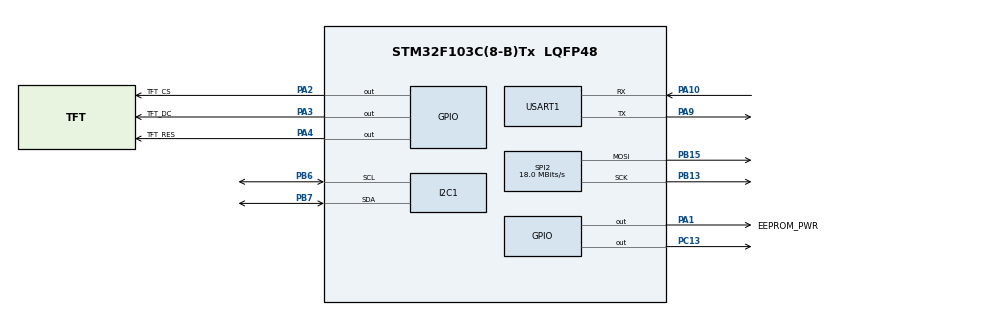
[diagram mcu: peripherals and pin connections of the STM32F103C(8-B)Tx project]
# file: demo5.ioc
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Dma.Request0=USART1_RX
Dma.Request1=USART1_TX
Dma.USART1_RX.0.Direction=DMA_PERIPH_TO_MEMORY
Dma.USART1_RX.0.Instance=DMA1_Channel5
Dma.USART1_RX.0.MemDataAlignment=DMA_MDATAALIGN_BYTE
Dma.USART1_RX.0.MemInc=DMA_MINC_ENABLE
Dma.USART1_RX.0.Mode=DMA_CIRCULAR
Dma.USART1_RX.0.PeriphDataAlignment=DMA_PDATAALIGN_BYTE
Dma.USART1_RX.0.PeriphInc=DMA_PINC_DISABLE
Dma.USART1_RX.0.Priority=DMA_PRIORITY_HIGH
Dma.USART1_TX.1.Direction=DMA_MEMORY_TO_PERIPH
Dma.USART1_TX.1.Instance=DMA1_Channel4
Dma.USART1_TX.1.MemDataAlignment=DMA_MDATAALIGN_BYTE
Dma.USART1_TX.1.MemInc=DMA_MINC_ENABLE
Dma.USART1_TX.1.Mode=DMA_NORMAL
Dma.USART1_TX.1.PeriphDataAlignment=DMA_PDATAALIGN_BYTE
Dma.USART1_TX.1.PeriphInc=DMA_PINC_DISABLE
Dma.USART1_TX.1.Priority=DMA_PRIORITY_LOW
Mcu.Family=STM32F1
Mcu.Name=STM32F103C(8-B)Tx
Mcu.Package=LQFP48
NVIC.DMA1_Channel4_IRQn=true\:0\:0\:false\:false\:true\:false\:true\:true
NVIC.DMA1_Channel5_IRQn=true\:0\:0\:false\:false\:true\:false\:true\:true
NVIC.PriorityGroup=NVIC_PRIORITYGROUP_4
NVIC.USART1_IRQn=true\:0\:0\:false\:false\:true\:true\:true\:true
PA1.GPIO_Label=EEPROM_PWR
PA1.Signal=GPIO_Output
PA10.Mode=Asynchronous
PA10.Signal=USART1_RX
PA13.Mode=Serial_Wire
PA13.Signal=SYS_JTMS-SWDIO
PA14.Mode=Serial_Wire
PA14.Signal=SYS_JTCK-SWCLK
PA2.GPIO_Label=TFT_CS
PA2.Signal=GPIO_Output
PA3.GPIO_Label=TFT_DC
PA3.Signal=GPIO_Output
PA4.GPIO_Label=TFT_RES
PA4.Signal=GPIO_Output
PA9.Mode=Asynchronous
PA9.Signal=USART1_TX
PB13.Mode=TX_Only_Simplex_Unidirect_Master
PB13.Signal=SPI2_SCK
PB15.Mode=TX_Only_Simplex_Unidirect_Master
PB15.Signal=SPI2_MOSI
PB6.Mode=I2C
PB6.Signal=I2C1_SCL
PB7.Mode=I2C
PB7.Signal=I2C1_SDA
PC13-TAMPER-RTC.Signal=GPIO_Output
PD0-OSC_IN.Mode=HSE-External-Oscillator
PD0-OSC_IN.Signal=RCC_OSC_IN
PD1-OSC_OUT.Mode=HSE-External-Oscillator
PD1-OSC_OUT.Signal=RCC_OSC_OUT
ProjectManager.HeapSize=0x200
ProjectManager.StackSize=0x400
ProjectManager.TargetToolchain=STM32CubeIDE
RCC.AHBFreq_Value=72000000
RCC.APB1CLKDivider=RCC_HCLK_DIV2
RCC.APB1Freq_Value=36000000
RCC.APB1TimFreq_Value=72000000
RCC.APB2Freq_Value=72000000
RCC.APB2TimFreq_Value=72000000
RCC.HCLKFreq_Value=72000000
RCC.PLLMUL=RCC_PLL_MUL9
RCC.PLLSourceVirtual=RCC_PLLSOURCE_HSE
RCC.SYSCLKFreq_VALUE=72000000
RCC.SYSCLKSource=RCC_SYSCLKSOURCE_PLLCLK
RCC.USBFreq_Value=72000000
SPI2.CalculateBaudRate=18.0 MBits/s
SPI2.Direction=SPI_DIRECTION_2LINES
SPI2.Mode=SPI_MODE_MASTER
SPI2.VirtualType=VM_MASTER
USART1.VirtualMode=VM_ASYNC
board=custom

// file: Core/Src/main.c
	/* USER CODE BEGIN Header */
	/**
	  ******************************************************************************
	  * @file           : main.c
	  * @brief          : Tích hợp Ghi/Đọc EEPROM qua UART và Hiển thị cuộn trên LCD ST7789
	  ******************************************************************************
	  */
	/* USER CODE END Header */
	/* Includes ------------------------------------------------------------------*/
	#include "main.h"

	/* Private includes ----------------------------------------------------------*/
	/* USER CODE BEGIN Includes */
	#include "fonts.h"
	#include <string.h>
	#include <stdio.h>
	/* USER CODE END Includes */

	/* Private typedef -----------------------------------------------------------*/

	/* Private define ------------------------------------------------------------*/
	/* USER CODE BEGIN PD */
	#define EEPROM_ADDR 0xA0

	// Chân cấp nguồn EEPROM
	#define EEPROM_PWR_Pin GPIO_PIN_1
	#define EEPROM_PWR_GPIO_Port GPIOA

	// Chân LCD ST7789 (SPI2)
	#define TFT_CS_PORT  GPIOA
	#define TFT_CS_PIN   GPIO_PIN_2
	#define TFT_DC_PORT  GPIOA
	#define TFT_DC_PIN   GPIO_PIN_3
	#define TFT_RES_PORT GPIOA
	#define TFT_RES_PIN  GPIO_PIN_4
	/* USER CODE END PD */

	/* Private macro -------------------------------------------------------------*/

	/* Private variables ---------------------------------------------------------*/
	I2C_HandleTypeDef hi2c1;
	SPI_HandleTypeDef hspi2;
	UART_HandleTypeDef huart1;
	DMA_HandleTypeDef hdma_usart1_rx;
	DMA_HandleTypeDef hdma_usart1_tx;

	/* USER CODE BEGIN PV */
	uint8_t rx_buffer[3];
	uint8_t tx_buffer[26];

	uint8_t double_alphabet[52];
	const uint8_t my_alphabet[26] = "ABCDEFGHIJKLMNOPQRSTUVWXYZ";
	uint8_t ack_msg[2] = {'O', 'K'};
	uint8_t newline[2] = {'\r', '\n'};

	volatile uint8_t cmd_flag = 0;

	// Biến quản lý cuộn LCD
	uint16_t scroll_y = 0;
	uint16_t physical_y = 0;
	uint32_t line_count = 0;
	/* USER CODE END PV */

	/* Private function prototypes -----------------------------------------------*/
	void SystemClock_Config(void);
	static void MX_GPIO_Init(void);
	static void MX_DMA_Init(void);
	static void MX_I2C1_Init(void);
	static void MX_SPI2_Init(void);
	static void MX_USART1_UART_Init(void);

	/* USER CODE BEGIN PFP */
	void ST7789_WriteCommand(uint8_t cmd);
	void ST7789_WriteData(uint8_t data);
	void ST7789_SetWindow(uint16_t x0, uint16_t y0, uint16_t x1, uint16_t y1);
	void ST7789_FillScreen(uint16_t color);
	void ST7789_DrawChar(uint16_t x, uint16_t y, char ch, FontDef font, uint16_t color, uint16_t bgcolor);
	void ST7789_DrawString(uint16_t x, uint16_t y, const char *str, FontDef font, uint16_t color, uint16_t bgcolor);
	void ST7789_HardwareScroll(uint16_t y_offset);

	void EEPROM_Write_Buffer(uint16_t MemAddress, uint8_t *pData, uint16_t len);
	void EEPROM_Read_Buffer(uint16_t MemAddress, uint8_t *pData, uint16_t len);
	/* USER CODE END PFP */

	/* Private user code ---------------------------------------------------------*/
	/* USER CODE BEGIN 0 */

	// =================== HÀM GIAO TIẾP LCD ST7789 ===================
	void ST7789_WriteCommand(uint8_t cmd) {
		HAL_GPIO_WritePin(TFT_CS_PORT, TFT_CS_PIN, GPIO_PIN_RESET);
		HAL_GPIO_WritePin(TFT_DC_PORT, TFT_DC_PIN, GPIO_PIN_RESET);
		HAL_SPI_Transmit(&hspi2, &cmd, 1, 10);
		HAL_GPIO_WritePin(TFT_CS_PORT, TFT_CS_PIN, GPIO_PIN_SET);
	}

	void ST7789_WriteData(uint8_t data) {
		HAL_GPIO_WritePin(TFT_CS_PORT, TFT_CS_PIN, GPIO_PIN_RESET);
		HAL_GPIO_WritePin(TFT_DC_PORT, TFT_DC_PIN, GPIO_PIN_SET);
		HAL_SPI_Transmit(&hspi2, &data, 1, 10);
		HAL_GPIO_WritePin(TFT_CS_PORT, TFT_CS_PIN, GPIO_PIN_SET);
	}

	void ST7789_SetWindow(uint16_t x0, uint16_t y0, uint16_t x1, uint16_t y1) {
		ST7789_WriteCommand(0x2A);
		ST7789_WriteData(x0 >> 8); ST7789_WriteData(x0 & 0xFF);
		ST7789_WriteData(x1 >> 8); ST7789_WriteData(x1 & 0xFF);

		ST7789_WriteCommand(0x2B);
		ST7789_WriteData(y0 >> 8); ST7789_WriteData(y0 & 0xFF);
		ST7789_WriteData(y1 >> 8); ST7789_WriteData(y1 & 0xFF);
		ST7789_WriteCommand(0x2C);
	}

	void ST7789_FillScreen(uint16_t color) {
		uint8_t line_buffer[480];
		uint8_t high_byte = color >> 8;
		uint8_t low_byte = color & 0xFF;
		for (int i = 0; i < 480; i += 2) {
			line_buffer[i] = high_byte;
			line_buffer[i+1] = low_byte;
		}
		ST7789_SetWindow(0, 0, 239, 239);
		HAL_GPIO_WritePin(TFT_CS_PORT, TFT_CS_PIN, GPIO_PIN_RESET);
		HAL_GPIO_WritePin(TFT_DC_PORT, TFT_DC_PIN, GPIO_PIN_SET);
		for (int y = 0; y < 240; y++) {
			HAL_SPI_Transmit(&hspi2, line_buffer, 480, 10);
		}
		HAL_GPIO_WritePin(TFT_CS_PORT, TFT_CS_PIN, GPIO_PIN_SET);
	}

	void ST7789_DrawChar(uint16_t x, uint16_t y, char ch, FontDef font, uint16_t color, uint16_t bgcolor) {
		uint32_t char_size = font.width * font.height;
		uint8_t char_buffer[char_size * 2];
		uint16_t buffer_index = 0;
		uint8_t color_high = color >> 8, color_low = color & 0xFF;
		uint8_t bg_high = bgcolor >> 8, bg_low = bgcolor & 0xFF;

		for(uint32_t i = 0; i < font.height; i++) {
			uint32_t b = font.data[(ch - 32) * font.height + i];
			for(uint32_t j = 0; j < font.width; j++) {
				if((b << j) & 0x8000) {
					char_buffer[buffer_index++] = color_high; char_buffer[buffer_index++] = color_low;
				} else {
					char_buffer[buffer_index++] = bg_high; char_buffer[buffer_index++] = bg_low;
				}
			}
		}
		ST7789_SetWindow(x, y, x + font.width - 1, y + font.height - 1);
		HAL_GPIO_WritePin(TFT_CS_PORT, TFT_CS_PIN, GPIO_PIN_RESET);
		HAL_GPIO_WritePin(TFT_DC_PORT, TFT_DC_PIN, GPIO_PIN_SET);
		HAL_SPI_Transmit(&hspi2, char_buffer, char_size * 2, 10);
		HAL_GPIO_WritePin(TFT_CS_PORT, TFT_CS_PIN, GPIO_PIN_SET);
	}

	void ST7789_DrawString(uint16_t x, uint16_t y, const char *str, FontDef font, uint16_t color, uint16_t bgcolor) {
		while (*str) {
			if (x + font.width >= 240) {
				x = 0;
				y += font.height;
				if (y + font.height >= 240) break;
			}
			ST7789_DrawChar(x, y, *str, font, color, bgcolor);
			x += font.width;
			str++;
		}
	}

	void ST7789_HardwareScroll(uint16_t y_offset) {
		ST7789_WriteCommand(0x37);
		ST7789_WriteData(y_offset >> 8);
		ST7789_WriteData(y_offset & 0xFF);
	}

	// =================== HÀM GIAO TIẾP EEPROM ===================
	void EEPROM_Write_Buffer(uint16_t MemAddress, uint8_t *pData, uint16_t len) {
		if (HAL_I2C_Mem_Write(&hi2c1, EEPROM_ADDR, MemAddress, I2C_MEMADD_SIZE_16BIT, pData, len, 100) != HAL_OK) return;
		while (HAL_I2C_IsDeviceReady(&hi2c1, EEPROM_ADDR, 5, 10) != HAL_OK) {}
		HAL_GPIO_TogglePin(GPIOC, GPIO_PIN_13);
	}

	void EEPROM_Read_Buffer(uint16_t MemAddress, uint8_t *pData, uint16_t len) {
		for (uint16_t i = 0; i < len; i++) {
			if (HAL_I2C_Mem_Read(&hi2c1, EEPROM_ADDR, MemAddress + i, I2C_MEMADD_SIZE_16BIT, &pData[i], 1, 100) != HAL_OK) {
				pData[i] = '?';
			}
		}
		HAL_GPIO_TogglePin(GPIOC, GPIO_PIN_13);
	}
	/* USER CODE END 0 */

	/**
	  * @brief  The application entry point.
	  * @retval int
	  */
	int main(void)
	{

	  /* MCU Configuration--------------------------------------------------------*/
	  HAL_Init();

	  /* Configure the system clock */
	  SystemClock_Config();

	  /* Initialize all configured peripherals */
	  MX_GPIO_Init();
	  MX_DMA_Init();
	  MX_I2C1_Init();
	  MX_SPI2_Init();
	  MX_USART1_UART_Init();

	  /* USER CODE BEGIN 2 */

	  // --- 1. KHỞI TẠO MÀN HÌNH ST7789 ---
	  HAL_GPIO_WritePin(TFT_RES_PORT, TFT_RES_PIN, GPIO_PIN_RESET);
	  HAL_Delay(100);
	  HAL_GPIO_WritePin(TFT_RES_PORT, TFT_RES_PIN, GPIO_PIN_SET);
	  HAL_Delay(100);

	  ST7789_WriteCommand(0x11); HAL_Delay(120);
	  ST7789_WriteCommand(0x3A); ST7789_WriteData(0x55);
	  ST7789_WriteCommand(0x36); ST7789_WriteData(0x00);
	  ST7789_WriteCommand(0x21);
	  ST7789_WriteCommand(0x29); HAL_Delay(20);

	  // Cấu hình vùng cuộn
	  ST7789_WriteCommand(0x33);
	  ST7789_WriteData(0x00); ST7789_WriteData(0x00);
	  ST7789_WriteData(0x00); ST7789_WriteData(0xF0);
	  ST7789_WriteData(0x00); ST7789_WriteData(0x00); // Ở đây lề dưới = 0 cho cuộn toàn màn

	  ST7789_FillScreen(0x0000); // Xóa màn hình đen

	  // --- 2. KHỞI TẠO EEPROM & UART ---
	  memcpy(double_alphabet, my_alphabet, 26);
	  memcpy(double_alphabet + 26, my_alphabet, 26);

	  // Chờ lệnh 3 byte từ PC
	  HAL_UART_Receive_DMA(&huart1, rx_buffer, 3);

	  // Mặc định ngắt nguồn EEPROM
	  HAL_GPIO_WritePin(GPIOC, GPIO_PIN_13, GPIO_PIN_SET);
	  HAL_GPIO_WritePin(EEPROM_PWR_GPIO_Port, EEPROM_PWR_Pin, GPIO_PIN_SET);
	  HAL_Delay(50);

	  char msg[50];
		sprintf(msg, "\r\nDang quet I2C...\r\n");
		HAL_UART_Transmit(&huart1, (uint8_t*)msg, strlen(msg), 100);

		for(uint8_t i = 1; i < 128; i++) {
			// Dịch trái 1 bit vì STM32 yêu cầu địa chỉ 8-bit (có bit R/W)
			if(HAL_I2C_IsDeviceReady(&hi2c1, (uint16_t)(i << 1), 3, 50) == HAL_OK) {
				sprintf(msg, "-> TIM THAY THIET BI TAI DIA CHI: 0x%X \r\n", (i << 1));
				HAL_UART_Transmit(&huart1, (uint8_t*)msg, strlen(msg), 100);
			}
		}
		sprintf(msg, "Hoan thanh quet.\r\n");
		HAL_UART_Transmit(&huart1, (uint8_t*)msg, strlen(msg), 100);
	  /* USER CODE END 2 */

		/* Infinite loop */
		  while (1)
		  {

		    /* USER CODE BEGIN 3 */

		    // --------------------------------------------------------
		    // TRƯỜNG HỢP 1: GHI 100 BẢNG CHỮ CÁI (0xBB)
		    // --------------------------------------------------------
		    if (cmd_flag == 0xBB) {
		        cmd_flag = 0;

		        HAL_GPIO_WritePin(EEPROM_PWR_GPIO_Port, EEPROM_PWR_Pin, GPIO_PIN_SET);
		        HAL_Delay(20);

		        HAL_I2C_DeInit(&hi2c1);
		        HAL_I2C_Init(&hi2c1);

		        for (uint16_t i = 0; i < 50; i++) {
		            EEPROM_Write_Buffer(i * 64, (uint8_t*)double_alphabet, 26);
		        }

		        HAL_UART_Transmit(&huart1, ack_msg, 2, 100);
		        HAL_UART_Transmit(&huart1, newline, 2, 100);

		        HAL_GPIO_WritePin(EEPROM_PWR_GPIO_Port, EEPROM_PWR_Pin, GPIO_PIN_RESET);
		    }
		    		// TRƯỜNG HỢP 2: ĐỌC 100 BẢNG CHỮ CÁI VÀ HIỂN THỊ (0xCC)

		    		else if (cmd_flag == 0xCC) {
		    			cmd_flag = 0;

		    			HAL_GPIO_WritePin(EEPROM_PWR_GPIO_Port, EEPROM_PWR_Pin, GPIO_PIN_SET);
		    			HAL_Delay(20);

		    			HAL_I2C_DeInit(&hi2c1);
		    			HAL_I2C_Init(&hi2c1);

		    			char display_str[30];

		    			for (uint16_t i = 0; i < 100; i++) {

		    				EEPROM_Read_Buffer(i * 32, tx_buffer, 26);

		    				memcpy(display_str, tx_buffer, 26);
		    				display_str[26] = '\0';

		    				if (line_count < 23) {
		    					physical_y = line_count * 10;
		    					line_count++;
		    				} else {
		    					scroll_y = (scroll_y + 10) % 240;
		    					ST7789_HardwareScroll(scroll_y);

		    					physical_y = (scroll_y + 240 - 10) % 240;

		    					ST7789_DrawString(0, physical_y, "                          ", Font_7x10, 0x0000, 0x0000);
		    				}

		    				uint16_t text_color = (i % 2 == 0) ? 0xF800 : 0x07E0;

		    				ST7789_DrawString(0, physical_y, display_str, Font_7x10, text_color, 0x0000);

		    				HAL_UART_Transmit(&huart1, tx_buffer, 26, 500);
		    				HAL_UART_Transmit(&huart1, newline, 2, 100);

		    				HAL_Delay(15);
		    			}

		    			HAL_GPIO_WritePin(EEPROM_PWR_GPIO_Port, EEPROM_PWR_Pin, GPIO_PIN_RESET);
		    		}
		  }
		  /* USER CODE END 3 */
	}

	/**
	  * @brief System Clock Configuration
	  * @retval None
	  */
	void SystemClock_Config(void)
	{
	  RCC_OscInitTypeDef RCC_OscInitStruct = {0};
	  RCC_ClkInitTypeDef RCC_ClkInitStruct = {0};

	  RCC_OscInitStruct.OscillatorType = RCC_OSCILLATORTYPE_HSE;
	  RCC_OscInitStruct.HSEState = RCC_HSE_ON;
	  RCC_OscInitStruct.HSEPredivValue = RCC_HSE_PREDIV_DIV1;
	  RCC_OscInitStruct.HSIState = RCC_HSI_ON;
	  RCC_OscInitStruct.PLL.PLLState = RCC_PLL_ON;
	  RCC_OscInitStruct.PLL.PLLSource = RCC_PLLSOURCE_HSE;
	  RCC_OscInitStruct.PLL.PLLMUL = RCC_PLL_MUL9;
	  if (HAL_RCC_OscConfig(&RCC_OscInitStruct) != HAL_OK)
	  {
		Error_Handler();
	  }

	  RCC_ClkInitStruct.ClockType = RCC_CLOCKTYPE_HCLK|RCC_CLOCKTYPE_SYSCLK
								  |RCC_CLOCKTYPE_PCLK1|RCC_CLOCKTYPE_PCLK2;
	  RCC_ClkInitStruct.SYSCLKSource = RCC_SYSCLKSOURCE_PLLCLK;
	  RCC_ClkInitStruct.AHBCLKDivider = RCC_SYSCLK_DIV1;
	  RCC_ClkInitStruct.APB1CLKDivider = RCC_HCLK_DIV2;
	  RCC_ClkInitStruct.APB2CLKDivider = RCC_HCLK_DIV1;

	  if (HAL_RCC_ClockConfig(&RCC_ClkInitStruct, FLASH_LATENCY_2) != HAL_OK)
	  {
		Error_Handler();
	  }
	}

	/**
	  * @brief I2C1 Initialization Function
	  */
	static void MX_I2C1_Init(void)
	{
	  hi2c1.Instance = I2C1;
	  hi2c1.Init.ClockSpeed = 100000;
	  hi2c1.Init.DutyCycle = I2C_DUTYCYCLE_2;
	  hi2c1.Init.OwnAddress1 = 0;
	  hi2c1.Init.AddressingMode = I2C_ADDRESSINGMODE_7BIT;
	  hi2c1.Init.DualAddressMode = I2C_DUALADDRESS_DISABLE;
	  hi2c1.Init.OwnAddress2 = 0;
	  hi2c1.Init.GeneralCallMode = I2C_GENERALCALL_DISABLE;
	  hi2c1.Init.NoStretchMode = I2C_NOSTRETCH_DISABLE;
	  if (HAL_I2C_Init(&hi2c1) != HAL_OK)
	  {
		Error_Handler();
	  }
	}

	/**
	  * @brief SPI2 Initialization Function
	  */
	static void MX_SPI2_Init(void)
	{
	  hspi2.Instance = SPI2;
	  hspi2.Init.Mode = SPI_MODE_MASTER;
	  hspi2.Init.Direction = SPI_DIRECTION_2LINES;
	  hspi2.Init.DataSize = SPI_DATASIZE_8BIT;
	  hspi2.Init.CLKPolarity = SPI_POLARITY_HIGH;
	  hspi2.Init.CLKPhase = SPI_PHASE_2EDGE;
	  hspi2.Init.NSS = SPI_NSS_SOFT;
	  hspi2.Init.BaudRatePrescaler = SPI_BAUDRATEPRESCALER_64;
	  hspi2.Init.FirstBit = SPI_FIRSTBIT_MSB;
	  hspi2.Init.TIMode = SPI_TIMODE_DISABLE;
	  hspi2.Init.CRCCalculation = SPI_CRCCALCULATION_DISABLE;
	  hspi2.Init.CRCPolynomial = 10;
	  if (HAL_SPI_Init(&hspi2) != HAL_OK)
	  {
		Error_Handler();
	  }
	}

	/**
	  * @brief USART1 Initialization Function
	  */
	static void MX_USART1_UART_Init(void)
	{
	  huart1.Instance = USART1;
	  huart1.Init.BaudRate = 115200;
	  huart1.Init.WordLength = UART_WORDLENGTH_8B;
	  huart1.Init.StopBits = UART_STOPBITS_1;
	  huart1.Init.Parity = UART_PARITY_NONE;
	  huart1.Init.Mode = UART_MODE_TX_RX;
	  huart1.Init.HwFlowCtl = UART_HWCONTROL_NONE;
	  huart1.Init.OverSampling = UART_OVERSAMPLING_16;
	  if (HAL_UART_Init(&huart1) != HAL_OK)
	  {
		Error_Handler();
	  }
	}

	/**
	  * Enable DMA controller clock
	  */
	static void MX_DMA_Init(void)
	{
	  __HAL_RCC_DMA1_CLK_ENABLE();
	  HAL_NVIC_SetPriority(DMA1_Channel4_IRQn, 0, 0);
	  HAL_NVIC_EnableIRQ(DMA1_Channel4_IRQn);
	  HAL_NVIC_SetPriority(DMA1_Channel5_IRQn, 0, 0);
	  HAL_NVIC_EnableIRQ(DMA1_Channel5_IRQn);
	}

	/**
	  * @brief GPIO Initialization Function
	  */
	static void MX_GPIO_Init(void)
	{
	  GPIO_InitTypeDef GPIO_InitStruct = {0};

	  __HAL_RCC_GPIOC_CLK_ENABLE();
	  __HAL_RCC_GPIOD_CLK_ENABLE();
	  __HAL_RCC_GPIOA_CLK_ENABLE();
	  __HAL_RCC_GPIOB_CLK_ENABLE();

	  HAL_GPIO_WritePin(GPIOC, GPIO_PIN_13, GPIO_PIN_RESET);
	  HAL_GPIO_WritePin(GPIOA, EEPROM_PWR_Pin|TFT_CS_PIN|TFT_DC_PIN|TFT_RES_PIN, GPIO_PIN_RESET);

	  GPIO_InitStruct.Pin = GPIO_PIN_13;
	  GPIO_InitStruct.Mode = GPIO_MODE_OUTPUT_PP;
	  GPIO_InitStruct.Pull = GPIO_NOPULL;
	  GPIO_InitStruct.Speed = GPIO_SPEED_FREQ_LOW;
	  HAL_GPIO_Init(GPIOC, &GPIO_InitStruct);

	  GPIO_InitStruct.Pin = EEPROM_PWR_Pin|TFT_CS_PIN|TFT_DC_PIN|TFT_RES_PIN;
	  GPIO_InitStruct.Mode = GPIO_MODE_OUTPUT_PP;
	  GPIO_InitStruct.Pull = GPIO_NOPULL;
	  GPIO_InitStruct.Speed = GPIO_SPEED_FREQ_LOW;
	  HAL_GPIO_Init(GPIOA, &GPIO_InitStruct);
	}

	/* USER CODE BEGIN 4 */
	// Hàm Callback nhận lệnh DMA UART
	void HAL_UART_RxCpltCallback(UART_HandleTypeDef *huart) {
		if(huart->Instance == USART1) {
			if(rx_buffer[0] == 0xAA && rx_buffer[2] == 0x55) {
				cmd_flag = rx_buffer[1];
			}
			HAL_UART_Receive_DMA(&huart1, rx_buffer, 3);
		}
	}
	/* USER CODE END 4 */

	/**
	  * @brief  This function is executed in case of error occurrence.
	  * @retval None
	  */

	void Error_Handler(void)
	{
	  __disable_irq();
	  while (1)
	  {
	  }
	}

	#ifdef USE_FULL_ASSERT
	void assert_failed(uint8_t *file, uint32_t line)
	{
	}
	#endif /* USE_FULL_ASSERT */
